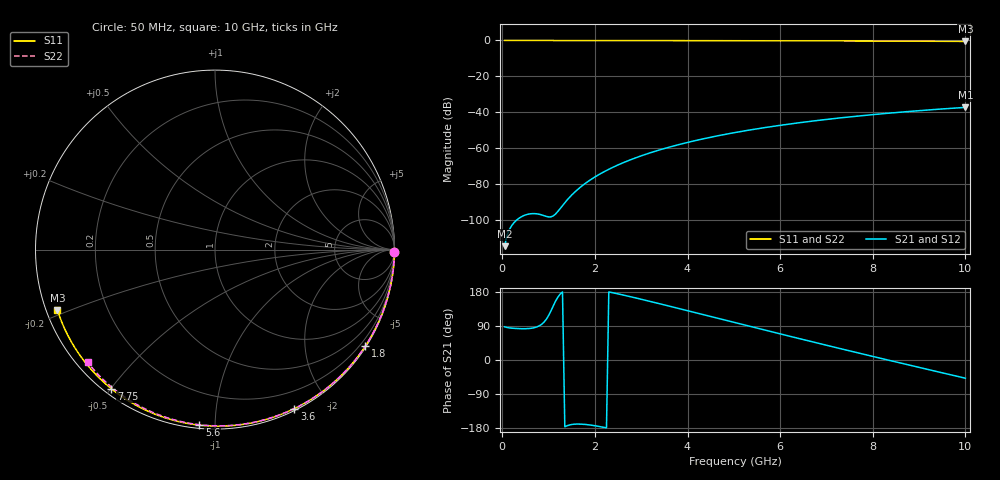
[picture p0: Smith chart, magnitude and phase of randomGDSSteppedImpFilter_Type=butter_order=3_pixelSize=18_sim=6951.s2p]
! freq	dB(S11)	phase(S11)	dB(S12)	phase(S12)
!  dB(S21)	phase(S21)	dB(S22)	phase(S22)
!S-par simulation data
#  GHz  S  DB  R 50
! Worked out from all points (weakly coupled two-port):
!   200 points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, 50 MHz to 10 GHz, reference 50 ohm
!   highest |S21| = -37.26 dB at 10 GHz (marker M1); lowest = -114.5 dB at 50 MHz (marker M2)
!   lowest |S11| = -0.5 dB at 10 GHz (marker M3), VSWR 32.62, Z = 1.59 - j9.28 ohm
!   |S11| at or under -10 dB: nowhere
!   |S22| runs from -0.5 to 0.0 dB; largest |S21 - S12| = 0
!   S11 on the Smith chart (normalised r, x): 50 MHz: open; 1.8 GHz: 0.03, -3.42; 3.6 GHz: 0.02, -1.62; 5.6 GHz: 0.02, -0.91; 7.75 GHz: 0.02, -0.50; 10 GHz: 0.03, -0.19
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0.05  -0.00 -0.9  -114.54 87.6  -114.54 87.6  -0.00 -0.8
0.45  -0.01 -8.3  -97.66 82.5  -97.66 82.5  -0.01 -7.2
0.9  -0.02 -16.5  -97.55 99.8  -97.55 99.8  -0.02 -14.3
1.3  -0.03 -23.7  -91.93 179.6  -91.93 179.6  -0.03 -20.6
1.75  -0.04 -31.7  -80.41 -169.6  -80.41 -169.6  -0.04 -27.6
1.8  -0.04 -32.6  -79.45 -170.2  -79.45 -170.2  -0.04 -28.4
1.95  -0.05 -35.3  -76.81 -172.5  -76.81 -172.5  -0.04 -30.7
2.1  -0.05 -37.9  -74.48 -175.6  -74.48 -175.6  -0.04 -33.0
2.3  -0.05 -41.4  -71.73 179.7  -71.73 179.7  -0.05 -36.1
2.5  -0.06 -44.9  -69.30 174.5  -69.30 174.5  -0.05 -39.1
2.9  -0.07 -51.7  -65.15 163.2  -65.15 163.2  -0.06 -45.1
3.4  -0.08 -60.2  -60.92 148.4  -60.92 148.4  -0.07 -52.5
3.6  -0.09 -63.5  -59.44 142.3  -59.44 142.3  -0.07 -55.5
4.3  -0.11 -74.9  -54.99 120.9  -54.99 120.9  -0.09 -65.5
5.05  -0.13 -86.7  -51.16 97.9  -51.16 97.9  -0.12 -76.0
5.6  -0.16 -95.1  -48.79 81.1  -48.79 81.1  -0.14 -83.4
6.15  -0.19 -103.4  -46.72 64.4  -46.72 64.4  -0.16 -90.7
6.7  -0.22 -111.5  -44.88 47.9  -44.88 47.9  -0.19 -97.8
7.75  -0.29 -126.6  -41.92 16.7  -41.92 16.7  -0.26 -111.1
8.35  -0.35 -135.2  -40.48 -0.8  -40.48 -0.8  -0.30 -118.5
9.2  -0.44 -147.3  -38.69 -25.3  -38.69 -25.3  -0.38 -128.8
10  -0.53 -159.0  -37.26 -48.0  -37.26 -48.0  -0.47 -138.5
